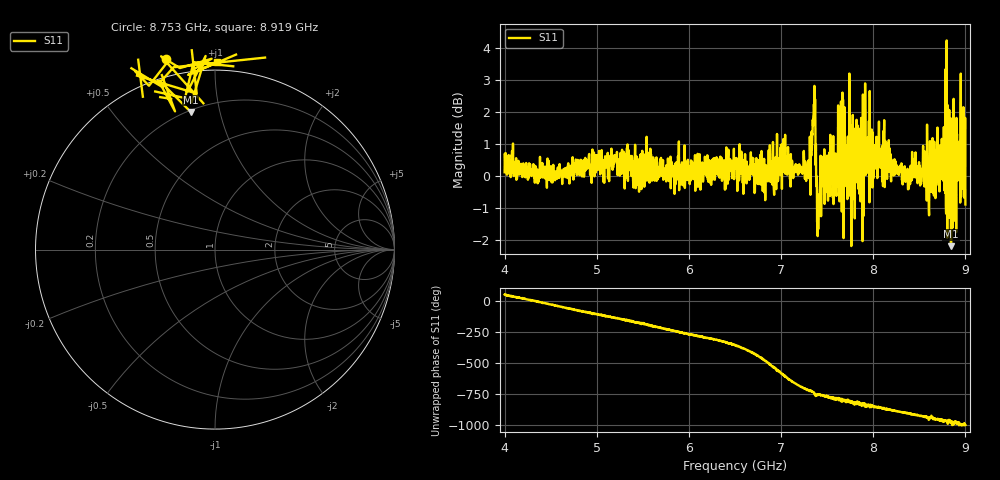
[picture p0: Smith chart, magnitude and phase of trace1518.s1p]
! Created with skrf 1.8.0 (http://scikit-rf.org).
# Hz S RI R 50.0
!freq ReS11 ImS11
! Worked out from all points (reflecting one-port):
!   1601 points, 4 GHz to 9 GHz, reference 50 ohm
!   lowest |S11| = -2.2 dB at 8.844 GHz (marker M1), VSWR 8.00, Z = 10.5 + j40.9 ohm
!   phase of S11 starts at 51 deg and turns -1056 deg over the sweep
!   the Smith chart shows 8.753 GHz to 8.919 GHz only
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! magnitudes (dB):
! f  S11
! 4 GHz  0.1
! 4.625 GHz  -0.2
! 5.25 GHz  0.0
! 5.875 GHz  0.1
! 6.5 GHz  0.5
! 6.816 GHz  0.5
! 7.038 GHz  0.3
! 7.125 GHz  0.2
! 7.294 GHz  0.1
! 7.347 GHz  1.6
! 7.362 GHz  2.8
! 7.409 GHz  -1.2
! 7.444 GHz  0.6
! 7.588 GHz  0.3
! 7.65 GHz  2.3
! 7.75 GHz  0.0
! 7.784 GHz  -0.5
! 7.812 GHz  0.5
! 7.875 GHz  -0.1
! 7.928 GHz  0.2
! 7.944 GHz  0.9
! 8.134 GHz  0.1
! 8.375 GHz  -0.1
! 8.588 GHz  -0.2
! 8.772 GHz  -0.4
! 8.844 GHz  -2.2
! 8.959 GHz  1.9
! 9 GHz  -0.9
